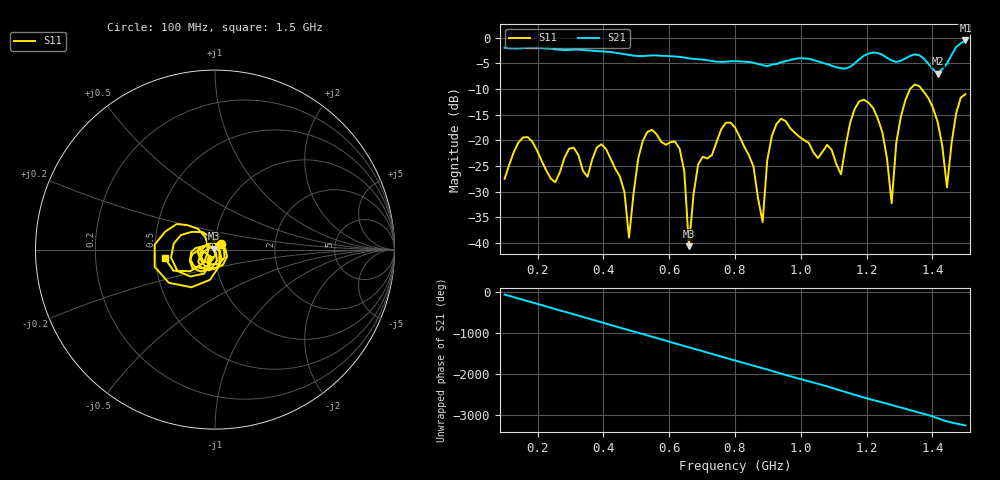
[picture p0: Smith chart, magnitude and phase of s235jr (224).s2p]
! NanoVNA-App
! Date: 2025-09-25 15:05:54
! Start: 100MHz Stop: 1,5GHz Points: 101
! S-Parameter data: F S11 S21 S12 S22
# Hz S RI R 50
!  Frequency  S11_Real  S11_Imag  S21_Real  S21_Imag  S12_Real  S12_Imag  S22_Real  S22_Imag
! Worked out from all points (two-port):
!   101 points, 100 MHz to 1.5 GHz, reference 50 ohm
!   highest |S21| = -0.55 dB at 1.5 GHz (marker M1); lowest = -7.0 dB at 1.416 GHz (marker M2)
!   |S21| within 3 dB of the highest: start of sweep to 500.7 MHz; 527.4 MHz to 590.3 MHz (62.92 MHz wide, 11.3 % of centre)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
!   lowest |S11| = -40.6 dB at 660 MHz (marker M3), VSWR 1.02, Z = 49.3 + j0.571 ohm
!   |S11| at or under -10 dB: start of sweep to 1.332 GHz; 1.367 GHz to end of sweep
!   S12 and S22 are empty: the file has one direction only
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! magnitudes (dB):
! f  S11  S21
! 100 MHz  -27.5  -2.0
! 156 MHz  -19.4  -2.0
! 338 MHz  -25.9  -2.4
! 408 MHz  -21.7  -2.7
! 478 MHz  -38.9  -3.4
! 520 MHz  -20.1  -3.6
! 576 MHz  -20.3  -3.5
! 632 MHz  -21.7  -3.7
! 660 MHz  -40.6  -4.0
! 688 MHz  -24.7  -4.2
! 800 MHz  -17.5  -4.6
! 884 MHz  -35.9  -5.4
! 926 MHz  -16.8  -5.1
! 1.038 GHz  -22.3  -4.3
! 1.122 GHz  -26.6  -6.0
! 1.192 GHz  -12.1  -3.5
! 1.248 GHz  -18.5  -3.3
! 1.276 GHz  -32.3  -4.4
! 1.332 GHz  -10.0  -3.6
! 1.416 GHz  -16.5  -7.0
! 1.444 GHz  -29.2  -5.1
! 1.5 GHz  -11.0  -0.5
